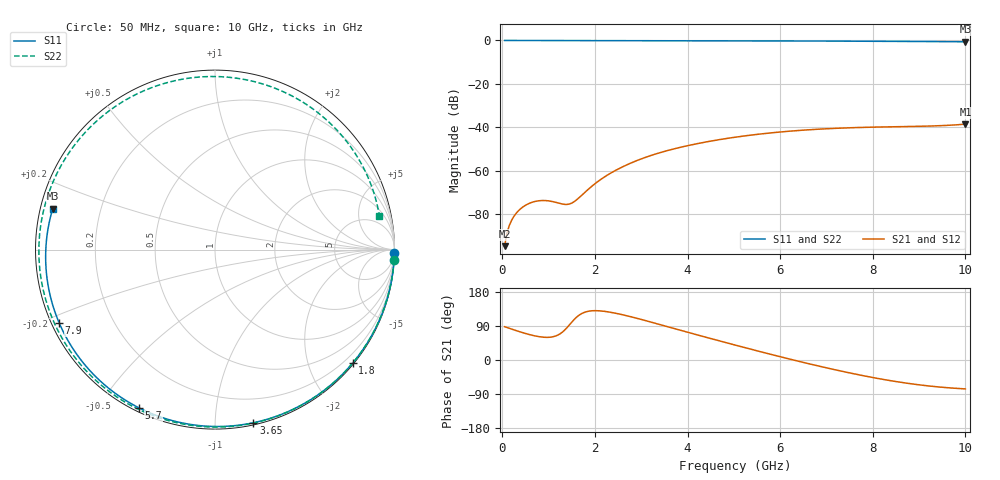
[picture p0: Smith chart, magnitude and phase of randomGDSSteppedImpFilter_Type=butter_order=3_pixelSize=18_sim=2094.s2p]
! freq	dB(S11)	phase(S11)	dB(S12)	phase(S12)
!  dB(S21)	phase(S21)	dB(S22)	phase(S22)
!S-par simulation data
#  GHz  S  DB  R 50
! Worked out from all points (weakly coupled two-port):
!   200 points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, 50 MHz to 10 GHz, reference 50 ohm
!   highest |S21| = -38.57 dB at 10 GHz (marker M1); lowest = -94.8 dB at 50 MHz (marker M2)
!   lowest |S11| = -0.6 dB at 10 GHz (marker M3), VSWR 28.60, Z = 1.77 + j6.19 ohm
!   |S11| at or under -10 dB: nowhere
!   |S22| runs from -0.6 to 0.0 dB; largest |S21 - S12| = 0
!   S11 on the Smith chart (normalised r, x): 50 MHz: open; 1.8 GHz: 0.03, -2.78; 3.65 GHz: 0.02, -1.25; 5.7 GHz: 0.02, -0.63; 7.9 GHz: 0.02, -0.22; 10 GHz: 0.04, +0.12
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0.05  -0.00 -1.1  -94.81 87.9  -94.81 87.9  -0.00 -3.2
0.3  -0.01 -6.7  -79.65 77.6  -79.65 77.6  -0.03 -19.0
0.45  -0.02 -10.1  -76.66 71.8  -76.66 71.8  -0.04 -28.3
0.65  -0.02 -14.5  -74.54 65.1  -74.54 65.1  -0.05 -40.4
0.9  -0.03 -20.0  -73.77 60.0  -73.77 60.0  -0.07 -55.0
1.4  -0.04 -31.0  -75.57 85.8  -75.57 85.8  -0.09 -81.6
1.55  -0.04 -34.2  -74.33 106.7  -74.33 106.7  -0.10 -88.9
1.75  -0.05 -38.5  -70.67 124.6  -70.67 124.6  -0.10 -98.2
1.8  -0.05 -39.6  -69.68 126.8  -69.68 126.8  -0.10 -100.4
2.15  -0.06 -47.0  -63.70 129.2  -63.70 129.2  -0.11 -115.3
2.5  -0.07 -54.3  -59.28 122.0  -59.28 122.0  -0.12 -128.8
3.4  -0.10 -72.6  -51.75 93.6  -51.75 93.6  -0.14 -159.0
3.65  -0.10 -77.5  -50.28 85.1  -50.28 85.1  -0.15 -166.5
4.35  -0.13 -90.9  -46.98 61.6  -46.98 61.6  -0.17 173.6
5.05  -0.16 -104.0  -44.52 38.7  -44.52 38.7  -0.20 154.7
5.7  -0.19 -115.8  -42.82 18.0  -42.82 18.0  -0.22 137.5
6.7  -0.26 -133.5  -41.05 -12.2  -41.05 -12.2  -0.27 110.8
7.3  -0.30 -144.1  -40.41 -28.9  -40.41 -28.9  -0.31 94.2
7.9  -0.36 -154.7  -40.00 -43.9  -40.00 -43.9  -0.34 77.0
8.35  -0.41 -162.8  -39.81 -53.9  -39.81 -53.9  -0.38 63.7
9.25  -0.51 -179.5  -39.44 -69.0  -39.44 -69.0  -0.47 35.8
10  -0.61 165.9  -38.57 -76.3  -38.57 -76.3  -0.58 11.7
